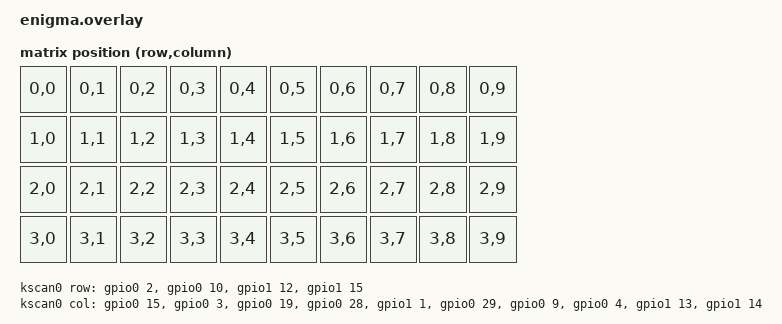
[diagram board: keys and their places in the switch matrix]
#include <zephyr/dt-bindings/dt-util.h>
#include <zephyr/dt-bindings/adc/adc.h>
#include <dt-bindings/zmk/matrix_transform.h>
#include "enigma-layouts.dtsi"

/ {
    // キーマトリクスの設定
    kscan0: kscan_0 {
        compatible = "zmk,kscan-gpio-matrix";
        diode-direction = "row2col"; // ダイオードの向き: 行から列
        row-gpios = <&gpio0 2 GPIO_ACTIVE_HIGH>,   // row0: P0.02 (D0)
                    <&gpio0 10 GPIO_ACTIVE_HIGH>,  // row1: P0.10 (D15)
                    <&gpio1 12 GPIO_ACTIVE_HIGH>,  // row2: P1.12 (D7)
                    <&gpio1 15 GPIO_ACTIVE_HIGH>;  // row3: P1.15 (D10)
        col-gpios = <&gpio0 15 (GPIO_ACTIVE_HIGH | GPIO_PULL_DOWN)>, // col0: P0.15 (D11)
                    <&gpio0 3  (GPIO_ACTIVE_HIGH | GPIO_PULL_DOWN)>, // col1: P0.03 (D1)
                    <&gpio0 19 (GPIO_ACTIVE_HIGH | GPIO_PULL_DOWN)>, // col2: P0.19 (D12)
                    <&gpio0 28 (GPIO_ACTIVE_HIGH | GPIO_PULL_DOWN)>, // col3: P0.28 (D2)
                    <&gpio1 1  (GPIO_ACTIVE_HIGH | GPIO_PULL_DOWN)>, // col4: P1.01 (D13)
                    <&gpio0 29 (GPIO_ACTIVE_HIGH | GPIO_PULL_DOWN)>, // col5: P0.29 (D3)
                    <&gpio0 9  (GPIO_ACTIVE_HIGH | GPIO_PULL_DOWN)>, // col6: P0.09 (D14)
                    <&gpio0 4  (GPIO_ACTIVE_HIGH | GPIO_PULL_DOWN)>, // col7: P0.04 (D4)
                    <&gpio1 13 (GPIO_ACTIVE_HIGH | GPIO_PULL_DOWN)>, // col8: P1.13 (D8)
                    <&gpio1 14 (GPIO_ACTIVE_HIGH | GPIO_PULL_DOWN)>; // col9: P1.14 (D9)
    };

    // マトリクストランスフォームの設定
    default_transform: keymap_transform_0 {
        compatible = "zmk,matrix-transform";
        rows = <4>;
        columns = <10>;
        map = <
            RC(0,0) RC(0,1) RC(0,2) RC(0,3) RC(0,4) RC(0,5) RC(0,6) RC(0,7) RC(0,8) RC(0,9)
            RC(1,0) RC(1,1) RC(1,2) RC(1,3) RC(1,4) RC(1,5) RC(1,6) RC(1,7) RC(1,8) RC(1,9)
            RC(2,0) RC(2,1) RC(2,2) RC(2,3) RC(2,4) RC(2,5) RC(2,6) RC(2,7) RC(2,8) RC(2,9)
            RC(3,0) RC(3,1) RC(3,2) RC(3,3) RC(3,4) RC(3,5) RC(3,6) RC(3,7) RC(3,8) RC(3,9)
        >;
    };

    // 物理レイアウト（オプションだがドキュメントに基づき記述）
    enigma_physical_layout: physical_layout_0 {
        compatible = "zmk,physical-layout";
        // layout-nodesはカスタムレイアウトが必要な場合に追加可能。ここでは省略
    };

    // ZMK Studio用の設定（エラー対応）
    studio_usb: studio_usb {
        compatible = "zmk,studio-rpc-usb-uart";
    };

    // 選択された設定をZMKに指定
    chosen {
        zmk,kscan = &kscan0;
        zmk,matrix-transform = &default_transform;
        zmk,physical-layout = &enigma_physical_layout; // ドキュメントに基づき更新
        zmk,studio-rpc = &studio_usb; // ZMK Studioサポート
    };

    // バッテリー測定用のADC設定
    bat_adc: adc_battery {
        compatible = "zmk,battery-nrf-adc";
        io-channels = <&adc 31>; // P0.31 (BATピン)
        vref-mv = <600>; // 内部リファレンス電圧
    };
};

// ADCノードの有効化
&adc {
    status = "okay";
};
